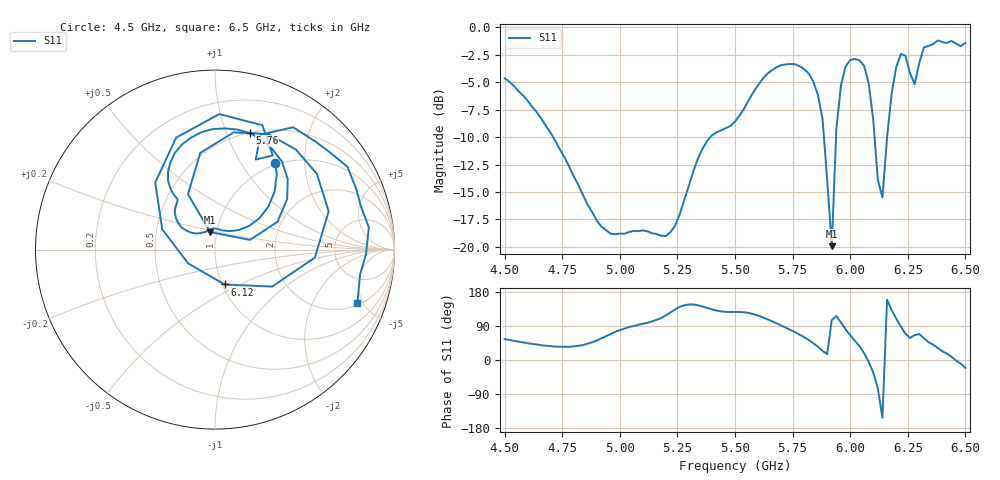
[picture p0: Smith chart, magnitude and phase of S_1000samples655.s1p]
! TOUCHSTONE file generated by CST MICROWAVE STUDIO
! Date and time: Fri Oct 28 22:23:58 2022
! Project name: L.cst
! Parameters = {Di=1.27; Epsilon_r=1.56; InnerDiameter=1.27; Length=2; Lf=10; Lg=60; OuterConductorThickness=0.2921; OuterDiameter=3.6; Wf=3; Wp=41.2; de=1.5; df=6.8; g=0.8; gx=2.21603; gy=2.07617; h=2.34; hf=1.524; px=14.2843; py=13.3278; w=9.7; wx=12.0683; wy=11.2517}
! Header version: 2018
! Port assignment regex: !\s*Touchstone port\s*([0-9]+)\s*=\s*(CST MWS port|CST DS port)\s*([0-9]+|Zmin|Zmax)\s*\(\"(.*)\"\)(\s*mode\s*([0-9]+))?.*
! Touchstone port assignment:
! Touchstone port 1 = CST MWS port 1 ("")
# GHz S DB R 50
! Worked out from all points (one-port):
!   101 points, 4.5 GHz to 6.5 GHz, reference 50 ohm
!   lowest |S11| = -19.9 dB at 5.92 GHz (marker M1), VSWR 1.22, Z = 46.6 + j9.15 ohm
!   |S11| at or under -10 dB: 4.711 GHz to 5.393 GHz (682.7 MHz wide, 13.5 % of centre); 5.886 GHz to 5.939 GHz (52.72 MHz wide, 0.892 % of centre); 6.106 GHz to 6.16 GHz (54.45 MHz wide, 0.888 % of centre)
!   S11 on the Smith chart (normalised r, x): 4.5 GHz: 0.98, +1.43; 5.76 GHz: 0.50, +1.21; 6.12 GHz: 1.03, -0.42; 6.5 GHz: 2.11, -4.52
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4.5  -4.65 55.1
4.76  -11.84 35.0
4.9  -17.59 51.2
5  -18.79 78.5
5.26  -17.03 140.3
5.36  -11.02 140.9
5.5  -8.59 126.9
5.62  -4.71 112.7
5.76  -3.37 73.5
5.86  -6.17 35.1
5.88  -8.37 24.0
5.92  -19.93 105.2
5.94  -9.28 116.0
5.98  -3.59 81.0
6  -2.99 65.2
6.06  -3.50 18.6
6.1  -8.42 -32.9
6.12  -13.91 -74.7
6.14  -15.49 -152.8
6.18  -6.02 131.7
6.22  -2.44 88.2
6.24  -2.60 69.1
6.26  -4.22 58.5
6.28  -5.18 65.7
6.3  -3.24 68.4
6.32  -1.84 57.4
6.4  -1.35 23.0
6.5  -1.43 -20.7
